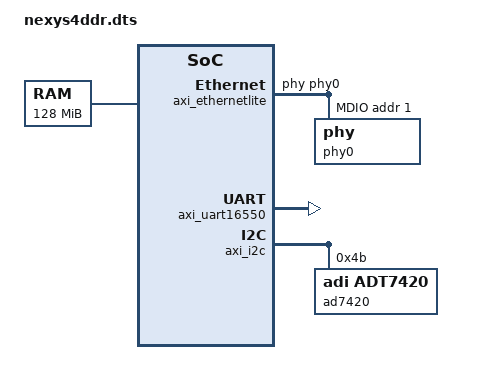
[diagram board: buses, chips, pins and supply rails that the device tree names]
// SPDX-License-Identifier: GPL-2.0
/dts-v1/;

#include "microAptiv.dtsi"

/ {
	compatible = "digilent,nexys4ddr";

	memory {
		device_type = "memory";
		reg = <0x0 0x08000000>;
	};

	cpuintc: interrupt-controller {
		#address-cells = <0>;
		#interrupt-cells = <1>;
		interrupt-controller;
		compatible = "mti,cpu-interrupt-controller";
	};

	axi_intc: interrupt-controller@10200000 {
		#interrupt-cells = <1>;
		compatible = "xlnx,xps-intc-1.00.a";
		interrupt-controller;
		reg = <0x10200000 0x10000>;
		xlnx,kind-of-intr = <0x0>;
		xlnx,num-intr-inputs = <0x6>;

		interrupt-parent = <&cpuintc>;
		interrupts = <6>;
	};

	axi_gpio: gpio@10600000 {
		#gpio-cells = <1>;
		compatible = "xlnx,xps-gpio-1.00.a";
		gpio-controller;
		reg = <0x10600000 0x10000>;
		xlnx,all-inputs = <0x0>;
		xlnx,dout-default = <0x0>;
		xlnx,gpio-width = <0x16>;
		xlnx,interrupt-present = <0x0>;
		xlnx,is-dual = <0x0>;
		xlnx,tri-default = <0xffffffff>;
	} ;

	axi_ethernetlite: ethernet@10e00000 {
		compatible = "xlnx,xps-ethernetlite-3.00.a";
		device_type = "network";
		interrupt-parent = <&axi_intc>;
		interrupts = <1>;
		phy-handle = <&phy0>;
		reg = <0x10e00000 0x10000>;
		xlnx,duplex = <0x1>;
		xlnx,include-global-buffers = <0x1>;
		xlnx,include-internal-loopback = <0x0>;
		xlnx,include-mdio = <0x1>;
		xlnx,instance = "axi_ethernetlite_inst";
		xlnx,rx-ping-pong = <0x1>;
		xlnx,s-axi-id-width = <0x1>;
		xlnx,tx-ping-pong = <0x1>;
		xlnx,use-internal = <0x0>;
		mdio {
			#address-cells = <1>;
			#size-cells = <0>;
			phy0: phy@1 {
				device_type = "ethernet-phy";
				reg = <1>;
			};
		};
	};

	axi_uart16550: serial@10400000 {
		compatible = "ns16550a";
		reg = <0x10400000 0x10000>;

		reg-shift = <2>;
		reg-offset = <0x1000>;

		clocks	= <&ext>;

		interrupt-parent = <&axi_intc>;
		interrupts = <0>;
	};

	axi_i2c: i2c@10A00000 {
	    compatible = "xlnx,xps-iic-2.00.a";
	    interrupt-parent = <&axi_intc>;
	    interrupts = <4>;
	    reg = < 0x10A00000 0x10000 >;
	    clocks = <&ext>;
	    xlnx,clk-freq = <0x5f5e100>;
	    xlnx,family = "Artix7";
	    xlnx,gpo-width = <0x1>;
	    xlnx,iic-freq = <0x186a0>;
	    xlnx,scl-inertial-delay = <0x0>;
	    xlnx,sda-inertial-delay = <0x0>;
	    xlnx,ten-bit-adr = <0x0>;
	    #address-cells = <1>;
	    #size-cells = <0>;

	    ad7420@4B {
		compatible = "adi,adt7420";
		reg = <0x4B>;
	    };
	} ;
};

&ext {
	clock-frequency = <50000000>;
};
